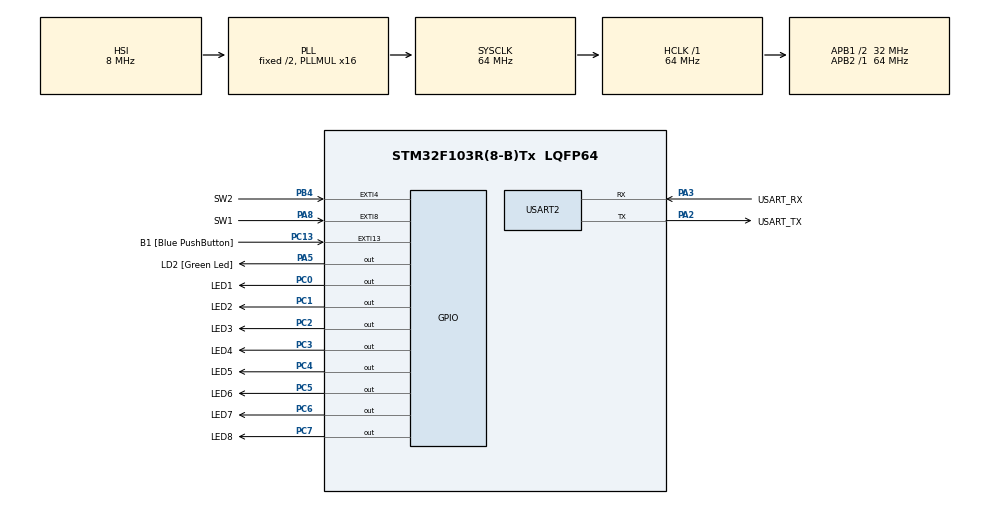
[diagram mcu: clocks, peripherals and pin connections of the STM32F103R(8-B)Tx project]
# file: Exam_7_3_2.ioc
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Mcu.Family=STM32F1
Mcu.Name=STM32F103R(8-B)Tx
Mcu.Package=LQFP64
NVIC.EXTI15_10_IRQn=true\:0\:0\:false\:false\:true\:true\:true\:true
NVIC.EXTI4_IRQn=true\:0\:0\:false\:false\:true\:true\:true\:true
NVIC.EXTI9_5_IRQn=true\:0\:0\:false\:false\:true\:true\:true\:true
NVIC.PriorityGroup=NVIC_PRIORITYGROUP_4
PA13.GPIO_Label=TMS
PA13.Mode=Serial_Wire
PA13.Signal=SYS_JTMS-SWDIO
PA14.GPIO_Label=TCK
PA14.Mode=Serial_Wire
PA14.Signal=SYS_JTCK-SWCLK
PA2.GPIO_Label=USART_TX
PA2.GPIO_Mode=GPIO_MODE_AF_PP
PA2.GPIO_PuPd=GPIO_NOPULL
PA2.GPIO_Speed=GPIO_SPEED_FREQ_LOW
PA2.Mode=Asynchronous
PA2.Signal=USART2_TX
PA3.GPIO_Label=USART_RX
PA3.GPIO_Mode=GPIO_MODE_AF_PP
PA3.GPIO_PuPd=GPIO_NOPULL
PA3.GPIO_Speed=GPIO_SPEED_FREQ_LOW
PA3.Mode=Asynchronous
PA3.Signal=USART2_RX
PA5.GPIO_Label=LD2 [Green Led]
PA5.GPIO_ModeDefaultOutputPP=GPIO_MODE_OUTPUT_PP
PA5.GPIO_PuPd=GPIO_NOPULL
PA5.GPIO_Speed=GPIO_SPEED_FREQ_LOW
PA5.Signal=GPIO_Output
PA8.GPIO_Label=SW1
PA8.Signal=GPXTI8
PB3.GPIO_Label=SWO
PB3.Signal=SYS_JTDO-TRACESWO
PB4.GPIO_Label=SW2
PB4.Signal=GPXTI4
PC0.GPIO_Label=LED1
PC0.Signal=GPIO_Output
PC1.GPIO_Label=LED2
PC1.Signal=GPIO_Output
PC13-TAMPER-RTC.GPIO_Label=B1 [Blue PushButton]
PC13-TAMPER-RTC.GPIO_PuPd=GPIO_NOPULL
PC13-TAMPER-RTC.Signal=GPXTI13
PC14-OSC32_IN.Mode=LSE-External-Oscillator
PC14-OSC32_IN.Signal=RCC_OSC32_IN
PC15-OSC32_OUT.Mode=LSE-External-Oscillator
PC15-OSC32_OUT.Signal=RCC_OSC32_OUT
PC2.GPIO_Label=LED3
PC2.Signal=GPIO_Output
PC3.GPIO_Label=LED4
PC3.Signal=GPIO_Output
PC4.GPIO_Label=LED5
PC4.Signal=GPIO_Output
PC5.GPIO_Label=LED6
PC5.Signal=GPIO_Output
PC6.GPIO_Label=LED7
PC6.Signal=GPIO_Output
PC7.GPIO_Label=LED8
PC7.Signal=GPIO_Output
PD0-OSC_IN.Mode=HSE-External-Clock-Source
PD0-OSC_IN.Signal=RCC_OSC_IN
PD1-OSC_OUT.Mode=HSE-External-Clock-Source
PD1-OSC_OUT.Signal=RCC_OSC_OUT
ProjectManager.HeapSize=0x200
ProjectManager.StackSize=0x400
ProjectManager.TargetToolchain=STM32CubeIDE
RCC.AHBFreq_Value=64000000
RCC.APB1CLKDivider=RCC_HCLK_DIV2
RCC.APB1Freq_Value=32000000
RCC.APB1TimFreq_Value=64000000
RCC.APB2Freq_Value=64000000
RCC.APB2TimFreq_Value=64000000
RCC.HCLKFreq_Value=64000000
RCC.PLLMUL=RCC_PLL_MUL16
RCC.RTCClockSelection=RCC_RTCCLKSOURCE_LSE
RCC.SYSCLKFreq_VALUE=64000000
RCC.SYSCLKSource=RCC_SYSCLKSOURCE_PLLCLK
RCC.USBFreq_Value=64000000
USART2.VirtualMode=VM_ASYNC
board=NUCLEO-F103RB

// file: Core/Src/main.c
/* USER CODE BEGIN Header */
/**
  ******************************************************************************
  * @file           : main.c
  * @brief          : Main program body
  ******************************************************************************
  * @attention
  *
  * Copyright (c) 2022 STMicroelectronics.
  * All rights reserved.
  *
  * This software is licensed under terms that can be found in the LICENSE file
  * in the root directory of this software component.
  * If no LICENSE file comes with this software, it is provided AS-IS.
  *
  ******************************************************************************
  */
/* USER CODE END Header */
#include "main.h"

 UART_HandleTypeDef huart2;

/* USER CODE BEGIN PV */
 uint8_t flag_SW1 = 0;
 uint8_t flag_SW2 = 0;
/* USER CODE END PV */

void SystemClock_Config(void);
static void MX_GPIO_Init(void);
static void MX_USART2_UART_Init(void);

/* USER CODE BEGIN 0 */
void HAL_GPIO_EXTI_Callback(uint16_t GPIO_Pin) {
	  if(GPIO_Pin == GPIO_PIN_8) {
		  flag_SW1 = 1; //PA8 Switch
		  flag_SW2 = 0;
	  }
	  else if(GPIO_Pin == GPIO_PIN_4) {
		  flag_SW1 = 0;
		  flag_SW2 = 1; //Blue Switch
	  }
}
/* USER CODE END 0 */

int main(void)
{

  /* MCU Configuration--------------------------------------------------------*/

  /* Reset of all peripherals, Initializes the Flash interface and the Systick. */
  HAL_Init();

  /* Configure the system clock */
  SystemClock_Config();

  /* Initialize all configured peripherals */
  MX_GPIO_Init();
  MX_USART2_UART_Init();
  /* USER CODE BEGIN 2 */
  uint16_t led = 0x01;
  /* USER CODE END 2 */

  /* Infinite loop */
  /* USER CODE BEGIN WHILE */
  while (1)
  {
	  if(flag_SW1 == 1) {
	  	  led <<= 1;
	  	  if(led > 0x80) led = 0x01;
	  	  HAL_GPIO_WritePin(GPIOC, led, GPIO_PIN_SET);
	  	  HAL_Delay(1000);
	  	  HAL_GPIO_WritePin(GPIOC, led, GPIO_PIN_RESET);
	  }
	  else if(flag_SW2 == 1) {
		  led >>= 1;
		  if(led < 0x01) led = 0x80;
		  HAL_GPIO_WritePin(GPIOC, led, GPIO_PIN_SET);
		  HAL_Delay(1000);
		  HAL_GPIO_WritePin(GPIOC, led, GPIO_PIN_RESET);
	  }
    /* USER CODE END WHILE */

  }
}

void SystemClock_Config(void)
{
  RCC_OscInitTypeDef RCC_OscInitStruct = {0};
  RCC_ClkInitTypeDef RCC_ClkInitStruct = {0};

  /** Initializes the RCC Oscillators according to the specified parameters
  * in the RCC_OscInitTypeDef structure.
  */
  RCC_OscInitStruct.OscillatorType = RCC_OSCILLATORTYPE_HSI;
  RCC_OscInitStruct.HSIState = RCC_HSI_ON;
  RCC_OscInitStruct.HSICalibrationValue = RCC_HSICALIBRATION_DEFAULT;
  RCC_OscInitStruct.PLL.PLLState = RCC_PLL_ON;
  RCC_OscInitStruct.PLL.PLLSource = RCC_PLLSOURCE_HSI_DIV2;
  RCC_OscInitStruct.PLL.PLLMUL = RCC_PLL_MUL16;
  if (HAL_RCC_OscConfig(&RCC_OscInitStruct) != HAL_OK)
  {
    Error_Handler();
  }

  /** Initializes the CPU, AHB and APB buses clocks
  */
  RCC_ClkInitStruct.ClockType = RCC_CLOCKTYPE_HCLK|RCC_CLOCKTYPE_SYSCLK
                              |RCC_CLOCKTYPE_PCLK1|RCC_CLOCKTYPE_PCLK2;
  RCC_ClkInitStruct.SYSCLKSource = RCC_SYSCLKSOURCE_PLLCLK;
  RCC_ClkInitStruct.AHBCLKDivider = RCC_SYSCLK_DIV1;
  RCC_ClkInitStruct.APB1CLKDivider = RCC_HCLK_DIV2;
  RCC_ClkInitStruct.APB2CLKDivider = RCC_HCLK_DIV1;

  if (HAL_RCC_ClockConfig(&RCC_ClkInitStruct, FLASH_LATENCY_2) != HAL_OK)
  {
    Error_Handler();
  }
}

static void MX_USART2_UART_Init(void)
{

  huart2.Instance = USART2;
  huart2.Init.BaudRate = 115200;
  huart2.Init.WordLength = UART_WORDLENGTH_8B;
  huart2.Init.StopBits = UART_STOPBITS_1;
  huart2.Init.Parity = UART_PARITY_NONE;
  huart2.Init.Mode = UART_MODE_TX_RX;
  huart2.Init.HwFlowCtl = UART_HWCONTROL_NONE;
  huart2.Init.OverSampling = UART_OVERSAMPLING_16;
  if (HAL_UART_Init(&huart2) != HAL_OK)
  {
    Error_Handler();
  }

}

static void MX_GPIO_Init(void)
{
  GPIO_InitTypeDef GPIO_InitStruct = {0};

  /* GPIO Ports Clock Enable */
  __HAL_RCC_GPIOC_CLK_ENABLE();
  __HAL_RCC_GPIOD_CLK_ENABLE();
  __HAL_RCC_GPIOA_CLK_ENABLE();
  __HAL_RCC_GPIOB_CLK_ENABLE();

  /*Configure GPIO pin Output Level */
  HAL_GPIO_WritePin(GPIOC, LED1_Pin|LED2_Pin|LED3_Pin|LED4_Pin
                          |LED5_Pin|LED6_Pin|LED7_Pin|LED8_Pin, GPIO_PIN_RESET);

  /*Configure GPIO pin Output Level */
  HAL_GPIO_WritePin(LD2_GPIO_Port, LD2_Pin, GPIO_PIN_RESET);

  /*Configure GPIO pin : B1_Pin */
  GPIO_InitStruct.Pin = B1_Pin;
  GPIO_InitStruct.Mode = GPIO_MODE_IT_RISING;
  GPIO_InitStruct.Pull = GPIO_NOPULL;
  HAL_GPIO_Init(B1_GPIO_Port, &GPIO_InitStruct);

  /*Configure GPIO pins : LED1_Pin LED2_Pin LED3_Pin LED4_Pin
                           LED5_Pin LED6_Pin LED7_Pin LED8_Pin */
  GPIO_InitStruct.Pin = LED1_Pin|LED2_Pin|LED3_Pin|LED4_Pin
                          |LED5_Pin|LED6_Pin|LED7_Pin|LED8_Pin;
  GPIO_InitStruct.Mode = GPIO_MODE_OUTPUT_PP;
  GPIO_InitStruct.Pull = GPIO_NOPULL;
  GPIO_InitStruct.Speed = GPIO_SPEED_FREQ_LOW;
  HAL_GPIO_Init(GPIOC, &GPIO_InitStruct);

  /*Configure GPIO pin : LD2_Pin */
  GPIO_InitStruct.Pin = LD2_Pin;
  GPIO_InitStruct.Mode = GPIO_MODE_OUTPUT_PP;
  GPIO_InitStruct.Pull = GPIO_NOPULL;
  GPIO_InitStruct.Speed = GPIO_SPEED_FREQ_LOW;
  HAL_GPIO_Init(LD2_GPIO_Port, &GPIO_InitStruct);

  /*Configure GPIO pin : SW1_Pin */
  GPIO_InitStruct.Pin = SW1_Pin;
  GPIO_InitStruct.Mode = GPIO_MODE_IT_RISING;
  GPIO_InitStruct.Pull = GPIO_NOPULL;
  HAL_GPIO_Init(SW1_GPIO_Port, &GPIO_InitStruct);

  /*Configure GPIO pin : SW2_Pin */
  GPIO_InitStruct.Pin = SW2_Pin;
  GPIO_InitStruct.Mode = GPIO_MODE_IT_RISING;
  GPIO_InitStruct.Pull = GPIO_NOPULL;
  HAL_GPIO_Init(SW2_GPIO_Port, &GPIO_InitStruct);

  /* EXTI interrupt init*/
  HAL_NVIC_SetPriority(EXTI4_IRQn, 0, 0);
  HAL_NVIC_EnableIRQ(EXTI4_IRQn);

  HAL_NVIC_SetPriority(EXTI9_5_IRQn, 0, 0);
  HAL_NVIC_EnableIRQ(EXTI9_5_IRQn);

  HAL_NVIC_SetPriority(EXTI15_10_IRQn, 0, 0);
  HAL_NVIC_EnableIRQ(EXTI15_10_IRQn);

}

void Error_Handler(void)
{
  __disable_irq();
  while (1)
  {
  }
}
